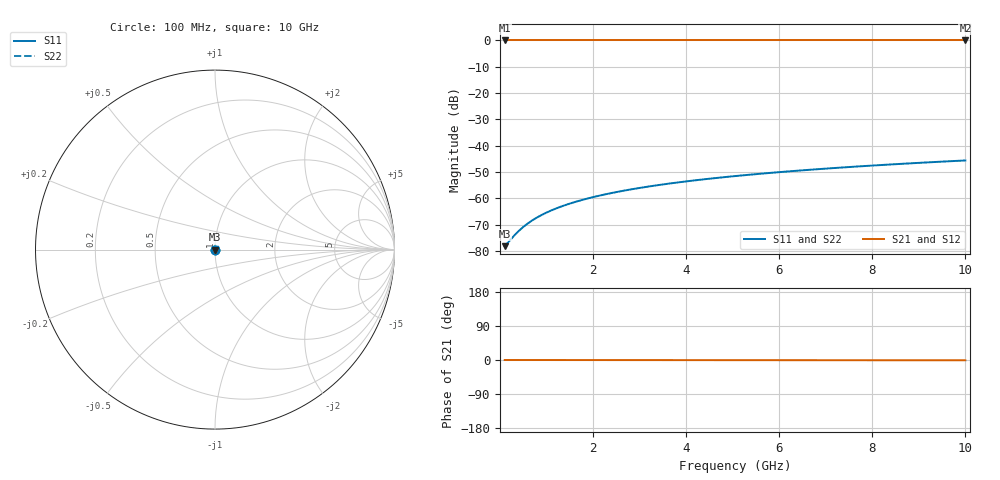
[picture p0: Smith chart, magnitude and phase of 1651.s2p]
# Hz S RI R 50.00
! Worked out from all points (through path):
!   100 points, 100 MHz to 10 GHz, reference 50 ohm
!   highest |S21| = 0.00 dB at 100 MHz (marker M1); lowest = 0.0 dB at 10 GHz (marker M2)
!   lowest |S11| = -78.2 dB at 100 MHz (marker M3), VSWR 1.00, Z = 50 + j0.00522 ohm
!   |S11| at or under -10 dB: start of sweep to end of sweep
!   |S22| runs from -78.2 to -45.6 dB; largest |S21 - S12| = 1e-15
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1e8  0.000111 5.22e-05  0.9999 -0.000134  0.9999 -0.000134  0.000111 5.22e-05
3e8  0.000112 0.000156  0.9999 -0.000401  0.9999 -0.000401  0.000112 0.000156
4e8  0.000113 0.000209  0.9999 -0.000535  0.9999 -0.000535  0.000113 0.000209
5e8  0.000113 0.000261  0.9999 -0.000668  0.9999 -0.000668  0.000113 0.000261
6e8  0.000114 0.000313  0.9999 -0.000802  0.9999 -0.000802  0.000114 0.000313
7e8  0.000114 0.000365  0.9999 -0.000936  0.9999 -0.000936  0.000114 0.000365
8e8  0.000114 0.000417  0.9999 -0.00107  0.9999 -0.00107  0.000114 0.000417
1e9  0.000115 0.000522  0.9999 -0.00134  0.9999 -0.00134  0.000115 0.000522
1.2e9  0.000116 0.000626  0.9999 -0.0016  0.9999 -0.0016  0.000116 0.000626
1.5e9  0.000117 0.000782  0.9999 -0.00201  0.9999 -0.00201  0.000117 0.000782
1.8e9  0.000118 0.000939  0.9999 -0.00241  0.9999 -0.00241  0.000118 0.000939
2.1e9  0.000119 0.0011  0.9999 -0.00281  0.9999 -0.00281  0.000119 0.0011
2.5e9  0.000121 0.0013  0.9999 -0.00334  0.9999 -0.00334  0.000121 0.0013
2.9e9  0.000123 0.00151  0.9999 -0.00388  0.9999 -0.00388  0.000123 0.00151
3.4e9  0.000125 0.00177  0.9999 -0.00455  0.9999 -0.00455  0.000125 0.00177
4.2e9  0.00013 0.00219  0.9999 -0.00562  0.9999 -0.00562  0.00013 0.00219
5.1e9  0.000137 0.00266  0.9998 -0.00683  0.9998 -0.00683  0.000137 0.00266
5.9e9  0.000144 0.00308  0.9998 -0.0079  0.9998 -0.0079  0.000144 0.00308
6.7e9  0.000152 0.0035  0.9998 -0.00897  0.9998 -0.00897  0.000152 0.0035
7.5e9  0.00016 0.00392  0.9998 -0.01  0.9998 -0.01  0.00016 0.00392
8.4e9  0.000171 0.00439  0.9998 -0.0113  0.9998 -0.0113  0.000171 0.00439
1e10  0.000193 0.00523  0.9998 -0.0134  0.9998 -0.0134  0.000193 0.00523
